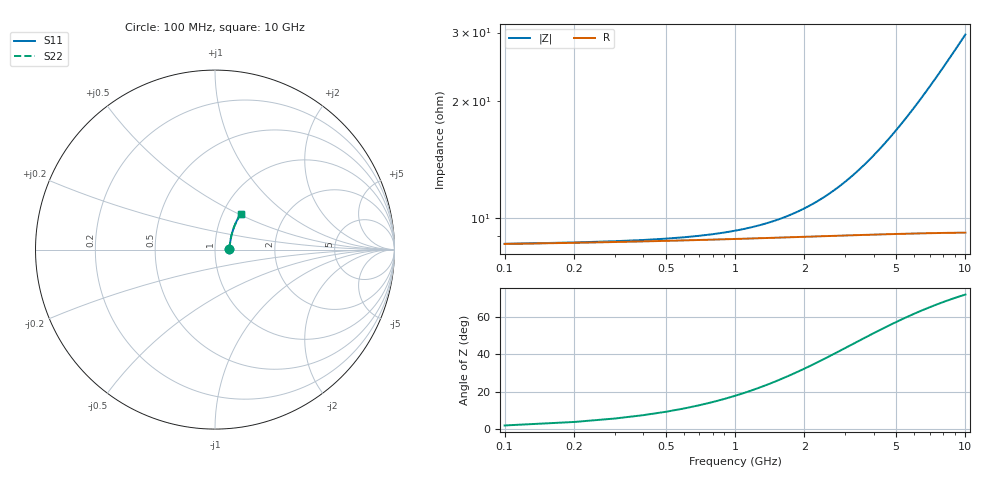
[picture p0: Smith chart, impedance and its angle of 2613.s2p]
# Hz S RI R 50.00
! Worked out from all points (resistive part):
!   100 points, 100 MHz to 10 GHz, reference 50 ohm
!   read as one part in series: R = 8.59 ohm at 100 MHz
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1e8  0.0791 0.00214  0.9209 -0.00266  0.9209 -0.00266  0.0791 0.00214
6e8  0.0809 0.0128  0.9191 -0.0159  0.9191 -0.0159  0.0809 0.0128
8e8  0.0814 0.0171  0.9186 -0.0212  0.9186 -0.0212  0.0814 0.0171
1e9  0.0819 0.0213  0.9181 -0.0264  0.9181 -0.0264  0.0819 0.0213
1.2e9  0.0824 0.0256  0.9176 -0.0317  0.9176 -0.0317  0.0824 0.0256
1.4e9  0.0829 0.0298  0.917 -0.0369  0.917 -0.0369  0.0829 0.0298
1.8e9  0.0841 0.0382  0.9159 -0.0474  0.9159 -0.0474  0.0841 0.0382
2.1e9  0.085 0.0445  0.9149 -0.0553  0.9149 -0.0553  0.085 0.0445
2.4e9  0.0861 0.0508  0.9139 -0.0631  0.9139 -0.0631  0.0861 0.0508
3.4e9  0.0901 0.0716  0.9097 -0.089  0.9097 -0.089  0.0901 0.0716
4.3e9  0.0946 0.09  0.9051 -0.112  0.9051 -0.112  0.0946 0.09
5.1e9  0.0994 0.1061  0.9002 -0.1322  0.9002 -0.1322  0.0994 0.1061
5.5e9  0.102 0.1141  0.8976 -0.1422  0.8976 -0.1422  0.102 0.1141
5.9e9  0.1048 0.1219  0.8947 -0.1521  0.8947 -0.1521  0.1048 0.1219
6.3e9  0.1078 0.1297  0.8917 -0.162  0.8917 -0.162  0.1078 0.1297
6.7e9  0.1109 0.1374  0.8885 -0.1717  0.8885 -0.1717  0.1109 0.1374
7.1e9  0.1141 0.145  0.8851 -0.1814  0.8851 -0.1814  0.1141 0.145
7.5e9  0.1176 0.1525  0.8816 -0.1909  0.8816 -0.1909  0.1176 0.1525
7.9e9  0.1212 0.1599  0.878 -0.2004  0.878 -0.2004  0.1212 0.1599
8.4e9  0.1258 0.169  0.8732 -0.212  0.8732 -0.212  0.1258 0.169
9.2e9  0.1338 0.1832  0.865 -0.2304  0.865 -0.2304  0.1338 0.1832
1e10  0.1423 0.1969  0.8563 -0.2482  0.8563 -0.2482  0.1423 0.1969
